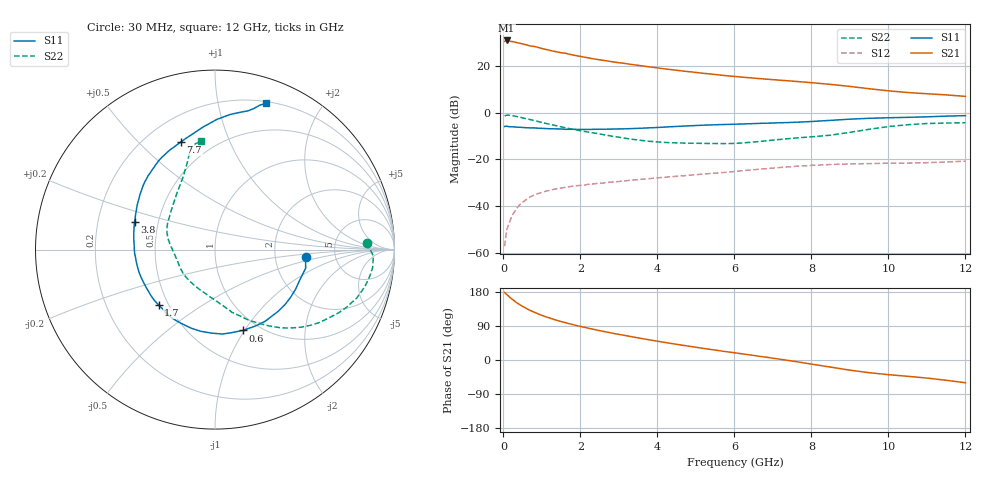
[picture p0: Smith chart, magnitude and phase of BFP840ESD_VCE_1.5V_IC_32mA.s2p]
! (c) 2012  Infineon Technologies AG, Munich
! Infineon Technologies  Discrete & RF Semiconductors
! BFP840ESD
! VCE =  1.5 V,  IC =  32 mA
! Common Emitter S-Parameters:  May 2012
# GHz  S  MA  R  50
!  f  S11  S21  S12  S22
! GHz  MAG  ANG  MAG  ANG  MAG  ANG  MAG  ANG
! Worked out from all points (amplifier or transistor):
!   93 points, 30 MHz to 12 GHz, reference 50 ohm
!   highest |S21| = 30.9 dB at 80 MHz (marker M1)
!   |S21| within 3 dB of that: start of sweep to 901.6 MHz
!   unconditionally stable (mu >= 1): start of sweep to 67.36 MHz; 3.128 GHz to 9.55 GHz
!   at 1.1 GHz: K = 0.57, MSG = 30.3 dB, |S12| = -33.6 dB
!   at 4.2 GHz: K = 1.10, MAG = 21.2 dB, |S12| = -27.6 dB
!   at 12 GHz: K = 0.75, MSG = 13.9 dB, |S12| = -20.7 dB
!   S11 on the Smith chart (normalised r, x): 30 MHz: 3.01, -0.33; 600 MHz: 0.84, -0.98; 1.7 GHz: 0.44, -0.34; 3.8 GHz: 0.37, +0.15; 7.7 GHz: 0.34, +0.68; 12 GHz: 0.22, +1.39
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0.03  0.5064 -4.6  33.49 178.2  0.0014 82.1  0.8472 2.5
0.08  0.5156 -11.6  34.94 173.4  0.003 88.5  0.8829 -2.3
0.13  0.5024 -19.0  33.83 168.7  0.004 83.2  0.8842 -6.5
0.23  0.4981 -32.2  33.05 160.0  0.0064 75.3  0.863 -13.1
0.33  0.4922 -44.2  31.73 152.1  0.0086 72.2  0.8349 -18.8
0.43  0.4875 -54.8  30.46 145.5  0.0108 68.9  0.8004 -23.7
0.6  0.4765 -70.9  28.12 135.8  0.014 62.8  0.7378 -31.2
0.7  0.4718 -79.8  26.56 130.6  0.0159 61.3  0.7089 -35.0
0.8  0.4722 -85.2  26.05 126.1  0.0173 58.8  0.6779 -38.5
1.1  0.4577 -106.4  22.47 114.0  0.021 52.3  0.5907 -47.7
1.4  0.4503 -122.7  19.82 104.2  0.0237 47.8  0.52 -54.8
1.7  0.4402 -135.6  17.84 96.1  0.0261 44.8  0.4582 -61.5
2.1  0.4374 -151.7  15.38 86.3  0.0283 42.2  0.3966 -69.1
2.9  0.4479 -176.8  12.01 69.4  0.0332 39.8  0.3079 -83.8
3.8  0.4743 160.9  9.487 53.0  0.039 37.1  0.244 -106.3
4.1  0.4871 154.5  8.824 47.9  0.0411 36.3  0.2337 -115.2
5.2  0.5406 137.0  6.93 30.5  0.0487 32.8  0.2203 -145.8
6.1  0.5689 127.1  5.844 17.7  0.0563 29.8  0.2227 -169.1
7.7  0.6297 107.5  4.583 -5.8  0.0719 18.2  0.2917 156.7
8.5  0.6848 95.8  4.017 -18.8  0.0778 10.9  0.3305 137.0
10.5  0.7942 76.7  2.693 -43.0  0.0837 -4.8  0.5517 105.0
12  0.863 70.7  2.229 -60.0  0.0918 -12.3  0.6085 97.4
